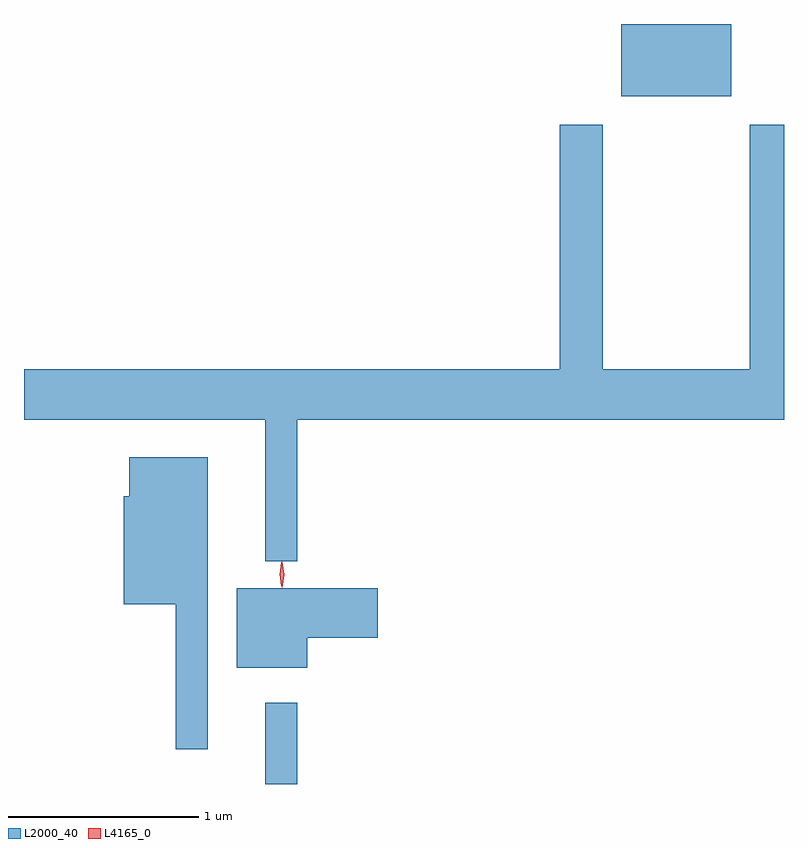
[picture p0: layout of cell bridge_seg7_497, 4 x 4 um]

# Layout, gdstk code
import gdstk
lib = gdstk.Library(unit=1e-6, precision=1e-09)
def R(c, l, rs):  # rectangles x0, y0, x1, y1
    for r in rs: c.add(gdstk.rectangle(r[:2], r[2:], *l))
def P(c, l, *ps):  # polygons
    for p in ps: c.add(gdstk.Polygon(p, *l))
L2000_40 = (2000, 40)
L4165_0 = (4165, 0)

bridge_seg7_497 = lib.new_cell('bridge_seg7_497')
R(bridge_seg7_497, L2000_40, [(1297.521,1681.32,1297.689,1681.748), (1299.396,1684.941,1299.974,1685.32)])
P(bridge_seg7_497, L2000_40, [(1297.689,1683.236),(1300.252,1683.236),(1300.252,1684.789),(1300.071,1684.789),(1300.071,1683.504),(1299.299,1683.504),(1299.299,1684.789),(1299.071,1684.789),(1299.071,1683.504),(1296.252,1683.504),(1296.252,1683.236),(1297.521,1683.236),(1297.521,1682.493),(1297.689,1682.493)],
  [(1297.219,1683.039),(1296.806,1683.039),(1296.806,1682.834),(1296.776,1682.834),(1296.776,1682.266),(1297.051,1682.266),(1297.051,1681.503),(1297.219,1681.503)],
  [(1297.744,1682.091),(1298.114,1682.091),(1298.114,1682.349),(1297.371,1682.349),(1297.371,1681.931),(1297.744,1681.931)])
P(bridge_seg7_497, L4165_0, [(1297.607,1682.36),(1297.598,1682.424),(1297.607,1682.486),(1297.608,1682.487),(1297.608,1682.486),(1297.618,1682.424),(1297.608,1682.36),(1297.608,1682.36)],
  [(1297.611,1682.354),(1297.601,1682.422),(1297.61,1682.49),(1297.61,1682.49),(1297.611,1682.49),(1297.621,1682.422),(1297.612,1682.354),(1297.612,1682.354)])

lib.write_gds('bridge_seg7_497.gds')
